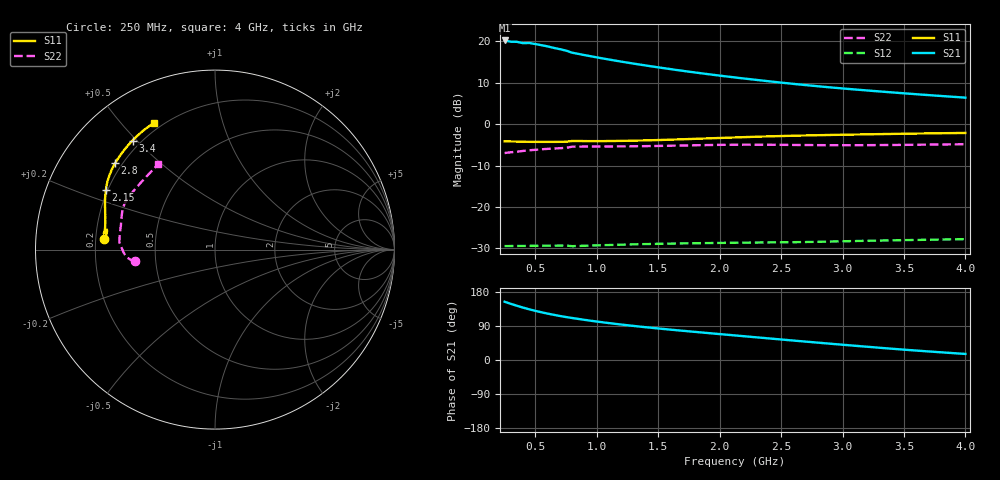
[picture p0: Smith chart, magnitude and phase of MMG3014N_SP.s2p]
! Copyright - Freescale Semiconductor, Inc., 2009.
! Rev. 0
! MMG3014NT1 S-Parameters
! 01/23/2009
# mhz S ma R 50
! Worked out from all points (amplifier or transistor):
!   76 points, 250 MHz to 4 GHz, reference 50 ohm
!   highest |S21| = 20.2 dB at 250 MHz (marker M1)
!   |S21| within 3 dB of that: start of sweep to 806.4 MHz
!   unconditionally stable (mu >= 1): start of sweep to end of sweep
!   at 850 MHz: K = 1.20, MAG = 20.5 dB, |S12| = -29.5 dB
!   at 2.15 GHz: K = 1.53, MAG = 15.6 dB, |S12| = -28.7 dB
!   at 4 GHz: K = 1.75, MAG = 12.1 dB, |S12| = -27.8 dB
!   S11 on the Smith chart (normalised r, x): 250 MHz: 0.23, +0.04; 2.15 GHz: 0.19, +0.25; 2.8 GHz: 0.17, +0.36; 3.4 GHz: 0.17, +0.49; 4 GHz: 0.17, +0.61
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250  0.6218 174.6  10.28 153.8  0.03361 0.6  0.4478 -171.6
300  0.6178 174.0  9.93 148.3  0.03364 0.3  0.457 -171.9
350  0.6161 173.4  9.893 143.1  0.03366 -0.1  0.4647 -172.5
400  0.613 173.0  9.534 138.3  0.03374 -0.4  0.4746 -173.3
450  0.6114 172.5  9.586 133.8  0.03377 -0.6  0.4834 -174.0
500  0.6109 172.0  9.3 129.8  0.03383 -0.8  0.4896 -174.9
600  0.6102 170.9  8.716 122.4  0.03395 -1.2  0.5029 -176.8
700  0.6113 169.9  8.064 116.2  0.03405 -1.6  0.5121 -178.9
750  0.6124 169.5  7.75 113.3  0.03412 -1.7  0.5162 180.0
800  0.6262 171.8  7.308 110.9  0.03349 -1.7  0.5348 175.5
900  0.6246 170.9  6.838 106.0  0.03387 -2.0  0.5356 173.5
1000  0.624 169.6  6.422 101.5  0.03423 -2.3  0.5368 171.8
1150  0.6265 167.6  5.866 95.4  0.03474 -2.8  0.5383 169.1
1300  0.6319 165.4  5.393 89.9  0.03522 -3.4  0.5402 166.5
1500  0.6425 162.2  4.864 83.2  0.03574 -4.2  0.5454 163.3
1800  0.6648 157.2  4.215 74.2  0.03635 -5.5  0.5556 158.9
2150  0.6929 151.3  3.633 64.1  0.03689 -7.6  0.5644 153.6
2450  0.7151 146.0  3.24 55.6  0.03725 -9.9  0.5634 148.6
2750  0.7331 140.2  2.92 47.1  0.03771 -12.4  0.5586 143.1
2800  0.7357 139.2  2.872 45.8  0.03782 -12.9  0.5579 142.1
3400  0.7618 127.1  2.422 29.8  0.03937 -19.0  0.5601 130.5
4000  0.7827 115.8  2.091 16.0  0.04067 -24.2  0.5722 123.5
